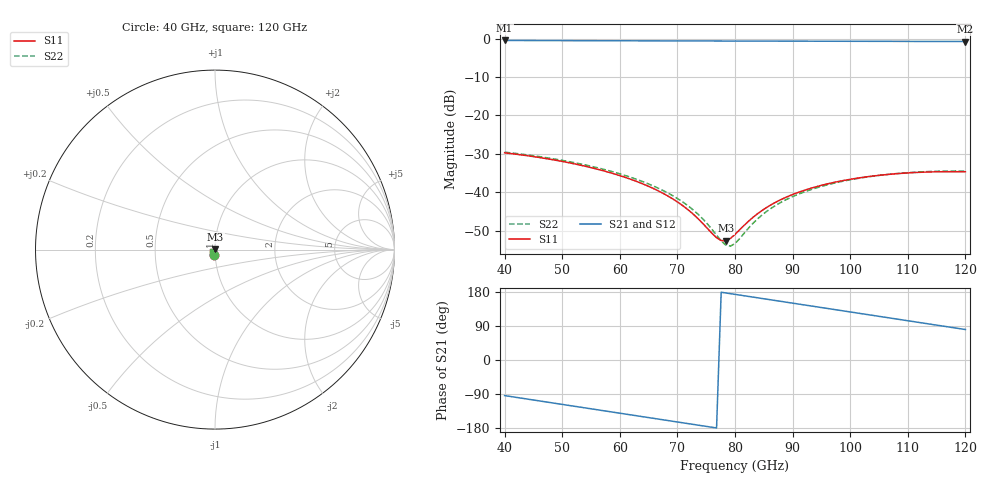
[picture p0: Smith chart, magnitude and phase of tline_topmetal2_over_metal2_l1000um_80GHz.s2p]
#  GHZ S DB R 50
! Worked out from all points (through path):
!   101 points, 40 GHz to 120 GHz, reference 50 ohm
!   highest |S21| = -0.50 dB at 40 GHz (marker M1); lowest = -0.8 dB at 120 GHz (marker M2)
!   group delay of S21, straight-line fit = 6.44 ps
!   lowest |S11| = -52.7 dB at 78.4 GHz (marker M3), VSWR 1.00, Z = 50.1 + j0.208 ohm
!   |S11| at or under -10 dB: start of sweep to end of sweep
!   |S22| runs from -54.1 to -29.6 dB; largest |S21 - S12| = 1.1e-14
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40  -29.76 -98.3  -0.50 -93.9  -0.50 -93.9  -29.59 -98.2
46.4  -31.07 -116.8  -0.52 -108.8  -0.52 -108.8  -30.84 -116.5
53.6  -33.13 -138.0  -0.55 -125.5  -0.55 -125.5  -32.79 -137.5
60.8  -36.09 -160.3  -0.58 -142.2  -0.58 -142.2  -35.60 -159.2
64  -37.86 -171.1  -0.59 -149.7  -0.59 -149.7  -37.28 -169.4
67.2  -40.07 177.1  -0.61 -157.1  -0.61 -157.1  -39.35 179.6
70.4  -42.96 162.8  -0.62 -164.5  -0.62 -164.5  -42.05 166.9
72.8  -45.81 148.4  -0.63 -170.1  -0.63 -170.1  -44.71 155.0
74.4  -48.15 134.6  -0.63 -173.8  -0.63 -173.8  -46.96 144.4
76.8  -51.87 99.2  -0.64 -179.4  -0.64 -179.4  -51.23 118.0
77.6  -52.60 81.7  -0.64 178.8  -0.64 178.8  -52.70 103.4
78.4  -52.67 63.0  -0.64 176.9  -0.64 176.9  -53.81 84.5
79.2  -52.07 45.4  -0.65 175.1  -0.65 175.1  -54.08 62.8
80  -51.03 30.6  -0.65 173.2  -0.65 173.2  -53.40 42.3
83.2  -46.48 -4.4  -0.66 165.8  -0.66 165.8  -48.01 -3.9
85.6  -43.90 -18.9  -0.67 160.2  -0.67 160.2  -44.92 -19.8
88.8  -41.38 -33.2  -0.68 152.8  -0.68 152.8  -42.02 -34.5
93.6  -38.81 -50.6  -0.69 141.7  -0.69 141.7  -39.15 -51.8
100.8  -36.47 -73.5  -0.71 125.0  -0.71 125.0  -36.57 -74.2
107.2  -35.31 -92.6  -0.73 110.1  -0.73 110.1  -35.29 -93.0
113.6  -34.76 -111.3  -0.75 95.3  -0.75 95.3  -34.64 -111.3
120  -34.72 -130.0  -0.77 80.4  -0.77 80.4  -34.51 -129.5
